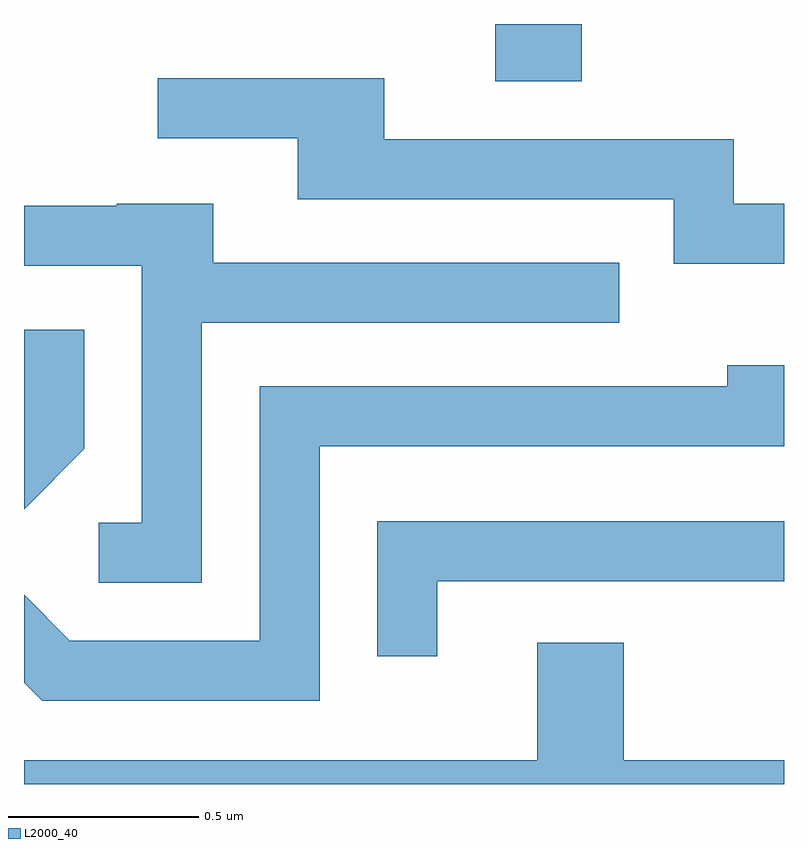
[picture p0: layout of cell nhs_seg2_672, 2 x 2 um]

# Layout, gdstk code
import gdstk
lib = gdstk.Library(unit=1e-6, precision=1e-09)
def R(c, l, rs):  # rectangles x0, y0, x1, y1
    for r in rs: c.add(gdstk.rectangle(r[:2], r[2:], *l))
def P(c, l, *ps):  # polygons
    for p in ps: c.add(gdstk.Polygon(p, *l))
L2000_40 = (2000, 40)

nhs_seg2_672 = lib.new_cell('nhs_seg2_672')
R(nhs_seg2_672, L2000_40, [(190.851,1103.651,191.079,1103.802)])
P(nhs_seg2_672, L2000_40, [(191.611,1103.329),(191.479,1103.329),(191.479,1103.499),(190.559,1103.499),(190.559,1103.659),(189.963,1103.659),(189.963,1103.501),(190.331,1103.501),(190.331,1103.341),(191.321,1103.341),(191.321,1103.171),(191.611,1103.171)],
  [(190.079,1103.016),(191.178,1103.016),(191.178,1103.174),(190.109,1103.174),(190.109,1103.329),(189.855,1103.329),(189.855,1103.324),(189.611,1103.324),(189.611,1103.166),(189.921,1103.166),(189.921,1102.489),(189.808,1102.489),(189.808,1102.331),(190.079,1102.331)],
  [(189.769,1102.684),(189.769,1102.998),(189.611,1102.998),(189.611,1102.525)],
  [(190.389,1102.691),(191.611,1102.691),(191.611,1102.904),(191.461,1102.904),(191.461,1102.849),(190.231,1102.849),(190.231,1102.179),(189.732,1102.179),(189.611,1102.3),(189.611,1102.069),(189.659,1102.021),(190.389,1102.021)],
  [(190.699,1102.336),(191.611,1102.336),(191.611,1102.494),(190.541,1102.494),(190.541,1102.138),(190.699,1102.138)],
  [(191.611,1101.864),(191.189,1101.864),(191.189,1102.174),(190.961,1102.174),(190.961,1101.864),(189.611,1101.864),(189.611,1101.802),(191.611,1101.802)])

lib.write_gds('nhs_seg2_672.gds')
